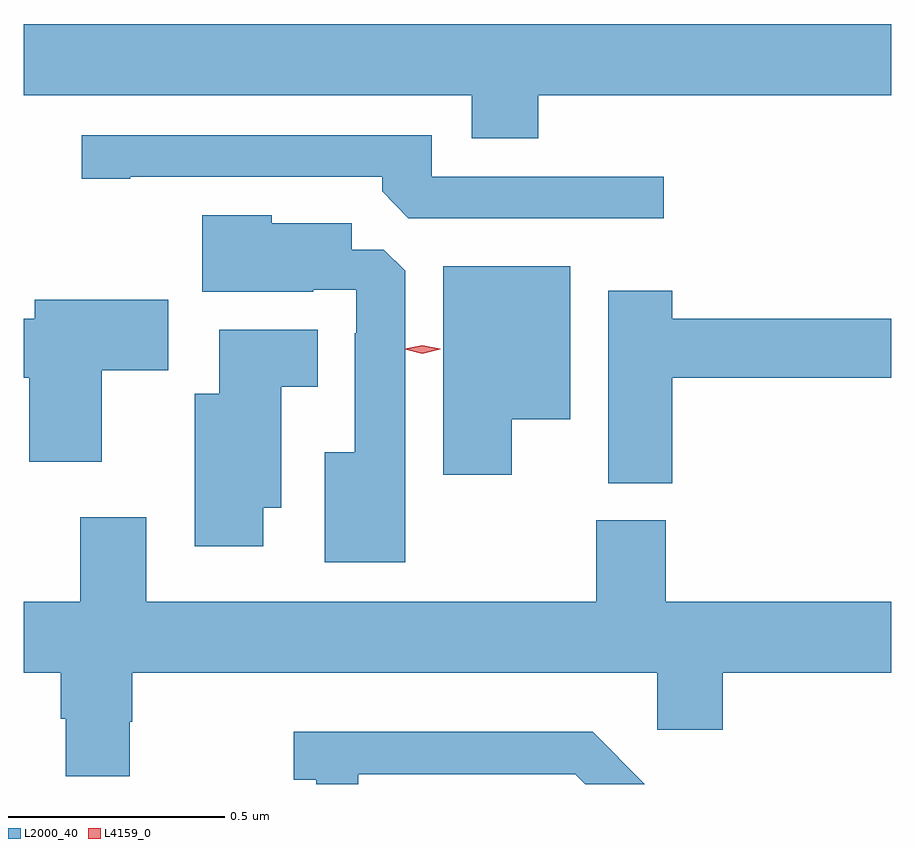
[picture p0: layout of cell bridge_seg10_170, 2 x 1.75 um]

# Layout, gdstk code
import gdstk
lib = gdstk.Library(unit=1e-6, precision=1e-09)
def P(c, l, *ps):  # polygons
    for p in ps: c.add(gdstk.Polygon(p, *l))
L2000_40 = (2000, 40)
L4159_0 = (4159, 0)

bridge_seg10_170 = lib.new_cell('bridge_seg10_170')
P(bridge_seg10_170, L2000_40, [(231.344,1277.672),(232.158,1277.672),(232.158,1277.836),(230.158,1277.836),(230.158,1277.672),(231.191,1277.672),(231.191,1277.573),(231.344,1277.573)],
  [(231.634,1277.484),(231.099,1277.484),(231.099,1277.58),(230.292,1277.58),(230.292,1277.479),(230.404,1277.479),(230.404,1277.484),(230.984,1277.484),(230.984,1277.45),(231.045,1277.388),(231.634,1277.388)],
  [(231.037,1277.267),(230.988,1277.316),(230.914,1277.316),(230.914,1277.377),(230.73,1277.377),(230.73,1277.395),(230.57,1277.395),(230.57,1277.219),(230.825,1277.219),(230.825,1277.223),(230.925,1277.223),(230.925,1277.123),(230.921,1277.123),(230.921,1276.849),(230.852,1276.849),(230.852,1276.595),(231.037,1276.595)],
  [(231.283,1276.925),(231.418,1276.925),(231.418,1277.278),(231.125,1277.278),(231.125,1276.797),(231.283,1276.797)],
  [(231.653,1277.02),(232.158,1277.02),(232.158,1277.156),(231.653,1277.156),(231.653,1277.221),(231.506,1277.221),(231.506,1276.777),(231.653,1276.777)],
  [(230.338,1277.038),(230.491,1277.038),(230.491,1277.2),(230.183,1277.2),(230.183,1277.156),(230.158,1277.156),(230.158,1277.02),(230.171,1277.02),(230.171,1276.827),(230.338,1276.827)],
  [(230.71,1276.721),(230.752,1276.721),(230.752,1277),(230.836,1277),(230.836,1277.131),(230.609,1277.131),(230.609,1276.984),(230.552,1276.984),(230.552,1276.632),(230.71,1276.632)],
  [(230.403,1276.227),(230.408,1276.227),(230.408,1276.34),(231.618,1276.34),(231.618,1276.209),(231.77,1276.209),(231.77,1276.34),(232.158,1276.34),(232.158,1276.504),(231.638,1276.504),(231.638,1276.692),(231.478,1276.692),(231.478,1276.504),(230.44,1276.504),(230.44,1276.699),(230.288,1276.699),(230.288,1276.504),(230.158,1276.504),(230.158,1276.34),(230.243,1276.34),(230.243,1276.234),(230.255,1276.234),(230.255,1276.102),(230.403,1276.102)],
  [(230.929,1276.107),(231.429,1276.107),(231.452,1276.084),(231.59,1276.084),(231.47,1276.204),(230.781,1276.204),(230.781,1276.094),(230.832,1276.094),(230.832,1276.084),(230.929,1276.084)])
P(bridge_seg10_170, L4159_0, [(231.077,1277.076),(231.036,1277.086),(231.036,1277.086),(231.036,1277.087),(231.077,1277.096),(231.118,1277.087),(231.118,1277.086),(231.118,1277.086)])

lib.write_gds('bridge_seg10_170.gds')
